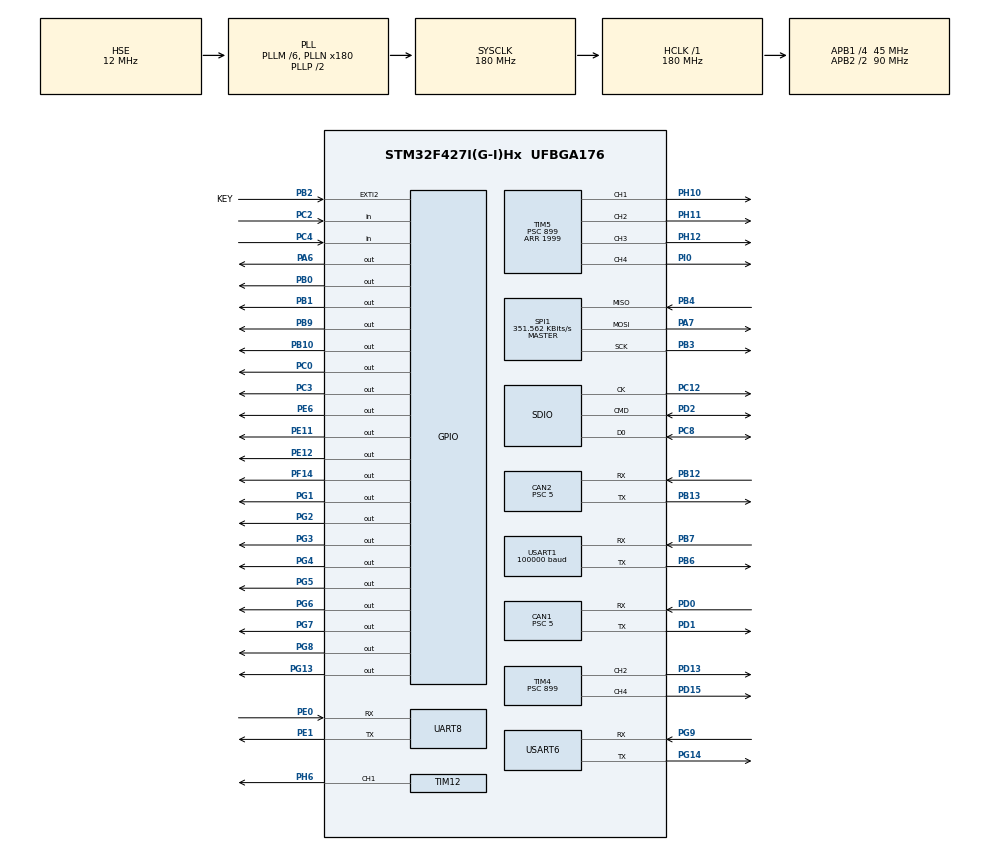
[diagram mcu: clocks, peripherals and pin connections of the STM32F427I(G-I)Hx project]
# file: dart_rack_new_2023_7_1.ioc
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CAN1.ABOM=ENABLE
CAN1.BS1=CAN_BS1_5TQ
CAN1.BS2=CAN_BS2_3TQ
CAN1.CalculateBaudRate=1000000
CAN1.CalculateTimeBit=1000
CAN1.CalculateTimeQuantum=111.11111111111111
CAN1.Prescaler=5
CAN2.ABOM=ENABLE
CAN2.BS1=CAN_BS1_5TQ
CAN2.BS2=CAN_BS2_3TQ
CAN2.CalculateBaudRate=1000000
CAN2.CalculateTimeBit=1000
CAN2.CalculateTimeQuantum=111.11111111111111
CAN2.Prescaler=5
Dma.Request0=USART1_RX
Dma.Request1=USART6_RX
Dma.Request2=SDIO_RX
Dma.Request3=SDIO_TX
Dma.SDIO_RX.2.Direction=DMA_PERIPH_TO_MEMORY
Dma.SDIO_RX.2.FIFOMode=DMA_FIFOMODE_ENABLE
Dma.SDIO_RX.2.FIFOThreshold=DMA_FIFO_THRESHOLD_FULL
Dma.SDIO_RX.2.Instance=DMA2_Stream3
Dma.SDIO_RX.2.MemBurst=DMA_MBURST_INC4
Dma.SDIO_RX.2.MemDataAlignment=DMA_MDATAALIGN_WORD
Dma.SDIO_RX.2.MemInc=DMA_MINC_ENABLE
Dma.SDIO_RX.2.Mode=DMA_PFCTRL
Dma.SDIO_RX.2.PeriphBurst=DMA_PBURST_INC4
Dma.SDIO_RX.2.PeriphDataAlignment=DMA_PDATAALIGN_WORD
Dma.SDIO_RX.2.PeriphInc=DMA_PINC_DISABLE
Dma.SDIO_RX.2.Priority=DMA_PRIORITY_VERY_HIGH
Dma.SDIO_TX.3.Direction=DMA_MEMORY_TO_PERIPH
Dma.SDIO_TX.3.FIFOMode=DMA_FIFOMODE_ENABLE
Dma.SDIO_TX.3.FIFOThreshold=DMA_FIFO_THRESHOLD_FULL
Dma.SDIO_TX.3.Instance=DMA2_Stream6
Dma.SDIO_TX.3.MemBurst=DMA_MBURST_INC4
Dma.SDIO_TX.3.MemDataAlignment=DMA_MDATAALIGN_WORD
Dma.SDIO_TX.3.MemInc=DMA_MINC_ENABLE
Dma.SDIO_TX.3.Mode=DMA_PFCTRL
Dma.SDIO_TX.3.PeriphBurst=DMA_PBURST_INC4
Dma.SDIO_TX.3.PeriphDataAlignment=DMA_PDATAALIGN_WORD
Dma.SDIO_TX.3.PeriphInc=DMA_PINC_DISABLE
Dma.SDIO_TX.3.Priority=DMA_PRIORITY_VERY_HIGH
Dma.USART1_RX.0.Direction=DMA_PERIPH_TO_MEMORY
Dma.USART1_RX.0.FIFOMode=DMA_FIFOMODE_DISABLE
Dma.USART1_RX.0.Instance=DMA2_Stream2
Dma.USART1_RX.0.MemDataAlignment=DMA_MDATAALIGN_BYTE
Dma.USART1_RX.0.MemInc=DMA_MINC_ENABLE
Dma.USART1_RX.0.Mode=DMA_NORMAL
Dma.USART1_RX.0.PeriphDataAlignment=DMA_PDATAALIGN_BYTE
Dma.USART1_RX.0.PeriphInc=DMA_PINC_DISABLE
Dma.USART1_RX.0.Priority=DMA_PRIORITY_VERY_HIGH
Dma.USART6_RX.1.Direction=DMA_PERIPH_TO_MEMORY
Dma.USART6_RX.1.FIFOMode=DMA_FIFOMODE_DISABLE
Dma.USART6_RX.1.Instance=DMA2_Stream1
Dma.USART6_RX.1.MemDataAlignment=DMA_MDATAALIGN_BYTE
Dma.USART6_RX.1.MemInc=DMA_MINC_ENABLE
Dma.USART6_RX.1.Mode=DMA_NORMAL
Dma.USART6_RX.1.PeriphDataAlignment=DMA_PDATAALIGN_BYTE
Dma.USART6_RX.1.PeriphInc=DMA_PINC_DISABLE
Dma.USART6_RX.1.Priority=DMA_PRIORITY_HIGH
FATFS.BSP.number=1
FATFS._FS_LOCK=2
FATFS._FS_REENTRANT=1
FATFS._USE_LFN=3
FATFS0.BSP.STBoard=false
FATFS0.BSP.api=Unknown
FATFS0.BSP.instance=PC2
FATFS0.BSP.ip=GPIO
FATFS0.BSP.mode=Input
FATFS0.BSP.name=Detect_SDIO
FATFS0.BSP.solution=PC2
FREERTOS.HEAP_NUMBER=4
FREERTOS.Tasks01=defaultTask,0,128,StartDefaultTask,Default,NULL,Dynamic,NULL,NULL
FREERTOS.configMAX_TASK_NAME_LEN=20
FREERTOS.configMINIMAL_STACK_SIZE=128
FREERTOS.configTOTAL_HEAP_SIZE=49152
Mcu.Family=STM32F4
Mcu.Name=STM32F427I(G-I)Hx
Mcu.Package=UFBGA176
NVIC.CAN1_RX0_IRQn=true\:5\:0\:false\:false\:true\:true\:true\:true\:true
NVIC.CAN2_RX0_IRQn=true\:5\:0\:false\:false\:true\:true\:true\:true\:true
NVIC.DMA2_Stream1_IRQn=true\:5\:0\:false\:false\:true\:true\:false\:true\:true
NVIC.DMA2_Stream2_IRQn=true\:5\:0\:false\:false\:true\:true\:false\:true\:true
NVIC.DMA2_Stream3_IRQn=true\:5\:0\:false\:false\:true\:true\:false\:true\:true
NVIC.DMA2_Stream6_IRQn=true\:5\:0\:false\:false\:true\:true\:false\:true\:true
NVIC.EXTI2_IRQn=true\:5\:0\:false\:false\:true\:false\:true\:true\:true
NVIC.PriorityGroup=NVIC_PRIORITYGROUP_4
NVIC.SDIO_IRQn=true\:5\:0\:false\:false\:true\:true\:true\:true\:true
NVIC.TIM1_UP_TIM10_IRQn=true\:15\:0\:false\:false\:true\:false\:false\:true\:true
NVIC.TIM2_IRQn=true\:5\:0\:false\:false\:true\:true\:true\:true\:true
NVIC.TimeBase=TIM1_UP_TIM10_IRQn
NVIC.TimeBaseIP=TIM1
NVIC.USART1_IRQn=true\:5\:0\:false\:false\:true\:true\:true\:true\:true
NVIC.USART6_IRQn=true\:5\:0\:false\:false\:true\:true\:true\:true\:true
PA13.Mode=Serial_Wire
PA13.Signal=SYS_JTMS-SWDIO
PA14.Mode=Serial_Wire
PA14.Signal=SYS_JTCK-SWCLK
PA6.GPIO_Speed=GPIO_SPEED_FREQ_MEDIUM
PA6.Signal=GPIO_Output
PA7.Mode=Full_Duplex_Master
PA7.Signal=SPI1_MOSI
PB0.GPIO_Speed=GPIO_SPEED_FREQ_HIGH
PB0.Signal=GPIO_Output
PB1.Signal=GPIO_Output
PB10.GPIO_Speed=GPIO_SPEED_FREQ_HIGH
PB10.Signal=GPIO_Output
PB12.Mode=CAN_Activate
PB12.Signal=CAN2_RX
PB13.Mode=CAN_Activate
PB13.Signal=CAN2_TX
PB2/BOOT1.GPIO_Label=KEY
PB2/BOOT1.GPIO_ModeDefaultEXTI=GPIO_MODE_IT_RISING
PB2/BOOT1.GPIO_PuPd=GPIO_PULLDOWN
PB2/BOOT1.Signal=GPXTI2
PB3.Mode=Full_Duplex_Master
PB3.Signal=SPI1_SCK
PB4.Mode=Full_Duplex_Master
PB4.Signal=SPI1_MISO
PB6.Mode=Asynchronous
PB6.Signal=USART1_TX
PB7.Mode=Asynchronous
PB7.Signal=USART1_RX
PB9.GPIO_Speed=GPIO_SPEED_FREQ_HIGH
PB9.Signal=GPIO_Output
PC0.GPIO_Speed=GPIO_SPEED_FREQ_HIGH
PC0.Signal=GPIO_Output
PC12.Mode=SD_1_bit
PC12.Signal=SDIO_CK
PC2.Signal=GPIO_Input
PC3.PinState=GPIO_PIN_SET
PC3.Signal=GPIO_Output
PC4.Signal=GPIO_Input
PC8.Mode=SD_1_bit
PC8.Signal=SDIO_D0
PD0.Mode=CAN_Activate
PD0.Signal=CAN1_RX
PD1.Mode=CAN_Activate
PD1.Signal=CAN1_TX
PD13.Signal=S_TIM4_CH2
PD15.Signal=S_TIM4_CH4
PD2.Mode=SD_1_bit
PD2.Signal=SDIO_CMD
PE0.Mode=Asynchronous
PE0.Signal=UART8_RX
PE1.Mode=Asynchronous
PE1.Signal=UART8_TX
PE11.GPIO_Speed=GPIO_SPEED_FREQ_MEDIUM
PE11.PinState=GPIO_PIN_SET
PE11.Signal=GPIO_Output
PE12.Signal=GPIO_Output
PE6.PinState=GPIO_PIN_SET
PE6.Signal=GPIO_Output
PF14.GPIO_Speed=GPIO_SPEED_FREQ_MEDIUM
PF14.PinState=GPIO_PIN_SET
PF14.Signal=GPIO_Output
PG1.GPIO_Speed=GPIO_SPEED_FREQ_MEDIUM
PG1.PinState=GPIO_PIN_SET
PG1.Signal=GPIO_Output
PG13.PinState=GPIO_PIN_RESET
PG13.Signal=GPIO_Output
PG14.Mode=Asynchronous
PG14.Signal=USART6_TX
PG2.GPIO_Speed=GPIO_SPEED_FREQ_MEDIUM
PG2.PinState=GPIO_PIN_SET
PG2.Signal=GPIO_Output
PG3.GPIO_Speed=GPIO_SPEED_FREQ_MEDIUM
PG3.PinState=GPIO_PIN_SET
PG3.Signal=GPIO_Output
PG4.GPIO_Speed=GPIO_SPEED_FREQ_MEDIUM
PG4.PinState=GPIO_PIN_SET
PG4.Signal=GPIO_Output
PG5.GPIO_Speed=GPIO_SPEED_FREQ_MEDIUM
PG5.PinState=GPIO_PIN_SET
PG5.Signal=GPIO_Output
PG6.GPIO_Speed=GPIO_SPEED_FREQ_MEDIUM
PG6.PinState=GPIO_PIN_SET
PG6.Signal=GPIO_Output
PG7.GPIO_Speed=GPIO_SPEED_FREQ_MEDIUM
PG7.PinState=GPIO_PIN_SET
PG7.Signal=GPIO_Output
PG8.GPIO_Speed=GPIO_SPEED_FREQ_MEDIUM
PG8.PinState=GPIO_PIN_SET
PG8.Signal=GPIO_Output
PG9.Mode=Asynchronous
PG9.Signal=USART6_RX
PH0/OSC_IN.Mode=HSE-External-Oscillator
PH0/OSC_IN.Signal=RCC_OSC_IN
PH1/OSC_OUT.Mode=HSE-External-Oscillator
PH1/OSC_OUT.Signal=RCC_OSC_OUT
PH10.Signal=S_TIM5_CH1
PH11.Signal=S_TIM5_CH2
PH12.Signal=S_TIM5_CH3
PH6.Signal=S_TIM12_CH1
PI0.Signal=S_TIM5_CH4
ProjectManager.HeapSize=0x10000
ProjectManager.StackSize=0x1000
ProjectManager.TargetToolchain=MDK-ARM V5.32
RCC.48MHZClocksFreq_Value=45000000
RCC.AHBFreq_Value=180000000
RCC.APB1CLKDivider=RCC_HCLK_DIV4
RCC.APB1Freq_Value=45000000
RCC.APB1TimFreq_Value=90000000
RCC.APB2CLKDivider=RCC_HCLK_DIV2
RCC.APB2Freq_Value=90000000
RCC.APB2TimFreq_Value=180000000
RCC.CortexFreq_Value=180000000
RCC.HCLKFreq_Value=180000000
RCC.HSE_VALUE=12000000
RCC.HSI_VALUE=16000000
RCC.LSE_VALUE=32768
RCC.PLLM=6
RCC.PLLN=180
RCC.PLLQ=8
RCC.PLLSourceVirtual=RCC_PLLSOURCE_HSE
RCC.SYSCLKFreq_VALUE=180000000
RCC.SYSCLKSource=RCC_SYSCLKSOURCE_PLLCLK
RCC.VCOOutputFreq_Value=360000000
SDIO.ClockDiv=16
SH.S_TIM12_CH1.0=TIM12_CH1,PWM Generation1 CH1
SH.S_TIM4_CH2.0=TIM4_CH2,PWM Generation2 CH2
SH.S_TIM4_CH4.0=TIM4_CH4,PWM Generation4 CH4
SH.S_TIM5_CH1.0=TIM5_CH1,PWM Generation1 CH1
SH.S_TIM5_CH2.0=TIM5_CH2,PWM Generation2 CH2
SH.S_TIM5_CH3.0=TIM5_CH3,PWM Generation3 CH3
SH.S_TIM5_CH4.0=TIM5_CH4,PWM Generation4 CH4
SPI1.BaudRatePrescaler=SPI_BAUDRATEPRESCALER_256
SPI1.CLKPhase=SPI_PHASE_2EDGE
SPI1.CLKPolarity=SPI_POLARITY_HIGH
SPI1.CalculateBaudRate=351.562 KBits/s
SPI1.Direction=SPI_DIRECTION_2LINES
SPI1.Mode=SPI_MODE_MASTER
SPI1.VirtualType=VM_MASTER
TIM12.Channel-PWM\ Generation1\ CH1=TIM_CHANNEL_1
TIM12.Period=369
TIM12.Prescaler=89
TIM2.Period=999
TIM2.Prescaler=89
TIM3.CounterMode=TIM_COUNTERMODE_DOWN
TIM3.Period=1000
TIM3.Prescaler=89
TIM4.Channel-PWM\ Generation2\ CH2=TIM_CHANNEL_2
TIM4.Channel-PWM\ Generation4\ CH4=TIM_CHANNEL_4
TIM4.Period=1999
TIM4.Prescaler=899
TIM4.Pulse-PWM\ Generation2\ CH2=150
TIM4.Pulse-PWM\ Generation4\ CH4=150
TIM5.Channel-PWM\ Generation1\ CH1=TIM_CHANNEL_1
TIM5.Channel-PWM\ Generation2\ CH2=TIM_CHANNEL_2
TIM5.Channel-PWM\ Generation3\ CH3=TIM_CHANNEL_3
TIM5.Channel-PWM\ Generation4\ CH4=TIM_CHANNEL_4
TIM5.Period=1999
TIM5.Prescaler=899
TIM5.Pulse-PWM\ Generation1\ CH1=150
TIM5.Pulse-PWM\ Generation2\ CH2=150
TIM5.Pulse-PWM\ Generation3\ CH3=150
TIM5.Pulse-PWM\ Generation4\ CH4=150
UART8.VirtualMode=Asynchronous
USART1.BaudRate=100000
USART1.Parity=PARITY_EVEN
USART1.VirtualMode=VM_ASYNC
USART6.VirtualMode=VM_ASYNC
VP_FATFS_VS_SDIO.Mode=SDIO
VP_FREERTOS_VS_CMSIS_V1.Mode=CMSIS_V1
VP_SYS_VS_tim1.Mode=TIM1
VP_TIM12_VS_ClockSourceINT.Mode=Internal
VP_TIM2_VS_ClockSourceINT.Mode=Internal
VP_TIM3_VS_ClockSourceINT.Mode=Internal
VP_TIM4_VS_ClockSourceINT.Mode=Internal
VP_TIM5_VS_ClockSourceINT.Mode=Internal
board=custom

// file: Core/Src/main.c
/* USER CODE BEGIN Header */
/**
 ******************************************************************************
 * @file           : main.c
 * @brief          : Main program body
 ******************************************************************************
 * @attention
 *
 * Copyright (c) 2023 STMicroelectronics.
 * All rights reserved.
 *
 * This software is licensed under terms that can be found in the LICENSE file
 * in the root directory of this software component.
 * If no LICENSE file comes with this software, it is provided AS-IS.
 *
 ******************************************************************************
 */
/* USER CODE END Header */
#include "main.h"
#include "cmsis_os.h"
#include "can.h"
#include "dma.h"
#include "fatfs.h"
#include "sdio.h"
#include "spi.h"
#include "tim.h"
#include "usart.h"
#include "gpio.h"

/* USER CODE BEGIN Includes */
#include "bsp_can.h"
#include "remote.h"
#include "referee.h"
#include "interrupt_service.h"
#include "beep.h"
#include "launch_thread.h"
/* USER CODE END Includes */

void SystemClock_Config(void);
void MX_FREERTOS_Init(void);

int main(void)
{

  /* MCU Configuration--------------------------------------------------------*/

  /* Reset of all peripherals, Initializes the Flash interface and the Systick. */
  HAL_Init();

  /* Configure the system clock */
  SystemClock_Config();

  /* Initialize all configured peripherals */
  MX_GPIO_Init();
  MX_DMA_Init();
  MX_CAN1_Init();
  MX_CAN2_Init();
  MX_SPI1_Init();
  MX_TIM2_Init();
  MX_TIM4_Init();
  MX_TIM5_Init();
  MX_USART1_UART_Init();
  MX_USART6_UART_Init();
  MX_UART8_Init();
  MX_SDIO_SD_Init();
  MX_TIM3_Init();
  MX_TIM12_Init();
  MX_FATFS_Init();
  /* USER CODE BEGIN 2 */
  BSP_SD_Init();
  remote_control_init();
  referee_init();
  can_filter_init();
  beep_init();
  systime_init();
  servo_init();
  /* USER CODE END 2 */

  /* Call init function for freertos objects (in freertos.c) */
  MX_FREERTOS_Init();

  /* Start scheduler */
  osKernelStart();
  /* We should never get here as control is now taken by the scheduler */
  /* Infinite loop */
  while (1)
  {

  }
}

void SystemClock_Config(void)
{
  RCC_OscInitTypeDef RCC_OscInitStruct = {0};
  RCC_ClkInitTypeDef RCC_ClkInitStruct = {0};

  /** Configure the main internal regulator output voltage
  */
  __HAL_RCC_PWR_CLK_ENABLE();
  __HAL_PWR_VOLTAGESCALING_CONFIG(PWR_REGULATOR_VOLTAGE_SCALE1);

  /** Initializes the RCC Oscillators according to the specified parameters
  * in the RCC_OscInitTypeDef structure.
  */
  RCC_OscInitStruct.OscillatorType = RCC_OSCILLATORTYPE_HSE;
  RCC_OscInitStruct.HSEState = RCC_HSE_ON;
  RCC_OscInitStruct.PLL.PLLState = RCC_PLL_ON;
  RCC_OscInitStruct.PLL.PLLSource = RCC_PLLSOURCE_HSE;
  RCC_OscInitStruct.PLL.PLLM = 6;
  RCC_OscInitStruct.PLL.PLLN = 180;
  RCC_OscInitStruct.PLL.PLLP = RCC_PLLP_DIV2;
  RCC_OscInitStruct.PLL.PLLQ = 8;
  if (HAL_RCC_OscConfig(&RCC_OscInitStruct) != HAL_OK)
  {
    Error_Handler();
  }

  /** Activate the Over-Drive mode
  */
  if (HAL_PWREx_EnableOverDrive() != HAL_OK)
  {
    Error_Handler();
  }

  /** Initializes the CPU, AHB and APB buses clocks
  */
  RCC_ClkInitStruct.ClockType = RCC_CLOCKTYPE_HCLK|RCC_CLOCKTYPE_SYSCLK
                              |RCC_CLOCKTYPE_PCLK1|RCC_CLOCKTYPE_PCLK2;
  RCC_ClkInitStruct.SYSCLKSource = RCC_SYSCLKSOURCE_PLLCLK;
  RCC_ClkInitStruct.AHBCLKDivider = RCC_SYSCLK_DIV1;
  RCC_ClkInitStruct.APB1CLKDivider = RCC_HCLK_DIV4;
  RCC_ClkInitStruct.APB2CLKDivider = RCC_HCLK_DIV2;

  if (HAL_RCC_ClockConfig(&RCC_ClkInitStruct, FLASH_LATENCY_5) != HAL_OK)
  {
    Error_Handler();
  }
}

void HAL_TIM_PeriodElapsedCallback(TIM_HandleTypeDef *htim)
{
  if (htim->Instance == TIM1) {
    HAL_IncTick();
  }
}

void Error_Handler(void)
{
  __disable_irq();
  while (1)
  {
  }
}

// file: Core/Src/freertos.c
/* USER CODE BEGIN Header */
/**
 ******************************************************************************
 * File Name          : freertos.c
 * Description        : Code for freertos applications
 ******************************************************************************
 * @attention
 *
 * Copyright (c) 2023 STMicroelectronics.
 * All rights reserved.
 *
 * This software is licensed under terms that can be found in the LICENSE file
 * in the root directory of this software component.
 * If no LICENSE file comes with this software, it is provided AS-IS.
 *
 ******************************************************************************
 */
/* USER CODE END Header */

#include "FreeRTOS.h"
#include "task.h"
#include "main.h"
#include "cmsis_os.h"

/* USER CODE BEGIN Includes */
#include "launch_thread.h"
#include "debug_light_thread.h"
#include "oled_reflesh_thread.h"
#include "hx711_read_thread.h"
#include "tfcard_transmit_thread.h"
#include "beep_music_thread.h"
/* USER CODE END Includes */

/* USER CODE BEGIN Variables */
osThreadId launch_thread_handle;
osThreadId debug_light_thread_handle;
osThreadId oled_reflesh_thread_handle;
osThreadId hx711_read_thread_handle;
osThreadId tfcard_transmit_thread_handle;
osThreadId beep_music_thread_handle;
/* USER CODE END Variables */
osThreadId defaultTaskHandle;

void StartDefaultTask(void const * argument);

void MX_FREERTOS_Init(void); /* (MISRA C 2004 rule 8.1) */

/* GetIdleTaskMemory prototype (linked to static allocation support) */
void vApplicationGetIdleTaskMemory( StaticTask_t **ppxIdleTaskTCBBuffer, StackType_t **ppxIdleTaskStackBuffer, uint32_t *pulIdleTaskStackSize );

/* USER CODE BEGIN GET_IDLE_TASK_MEMORY */
static StaticTask_t xIdleTaskTCBBuffer;
static StackType_t xIdleStack[configMINIMAL_STACK_SIZE];

void vApplicationGetIdleTaskMemory(StaticTask_t **ppxIdleTaskTCBBuffer, StackType_t **ppxIdleTaskStackBuffer, uint32_t *pulIdleTaskStackSize)
{
  *ppxIdleTaskTCBBuffer = &xIdleTaskTCBBuffer;
  *ppxIdleTaskStackBuffer = &xIdleStack[0];
  *pulIdleTaskStackSize = configMINIMAL_STACK_SIZE;
  /* place for user code */
}
/* USER CODE END GET_IDLE_TASK_MEMORY */

void MX_FREERTOS_Init(void) {

  /* Create the thread(s) */
  /* definition and creation of defaultTask */
  osThreadDef(defaultTask, StartDefaultTask, osPriorityNormal, 0, 128);
  defaultTaskHandle = osThreadCreate(osThread(defaultTask), NULL);

  /* USER CODE BEGIN RTOS_THREADS */
  /* add threads, ... */
  /* lauch */
  osThreadDef(launch, launch_thread, osPriorityHigh, 0, 1024);
  launch_thread_handle = osThreadCreate(osThread(launch), NULL);
  /* bug light */
  osThreadDef(debug_light, debug_light_thread, osPriorityNormal, 0, 128);
  debug_light_thread_handle = osThreadCreate(osThread(debug_light), NULL);
  /* oled show */
  osThreadDef(oled_reflesh, oled_reflesh_thread, osPriorityNormal, 0, 512);
  oled_reflesh_thread_handle = osThreadCreate(osThread(oled_reflesh), NULL);
  /* hx711 */
  osThreadDef(hx711_read, hx711_read_thread, osPriorityNormal, 0, 128);
  hx711_read_thread_handle = osThreadCreate(osThread(hx711_read), NULL);
  /* tfcard */
  osThreadDef(tfcard_transmit, tfcard_transmit_thread, osPriorityNormal, 0, 4096);
  tfcard_transmit_thread_handle = osThreadCreate(osThread(tfcard_transmit), NULL);
  /* music */
  // osThreadDef(beep_music, beep_music_thread, osPriorityNormal, 0, 512);
  // beep_music_thread_handle = osThreadCreate(osThread(beep_music), NULL);
  /* USER CODE END RTOS_THREADS */

}

void StartDefaultTask(void const * argument)
{
  /* USER CODE BEGIN StartDefaultTask */
  //   /* Infinite loop */
  for (;;)
  {
    osDelay(1);
  }
  /* USER CODE END StartDefaultTask */
}
